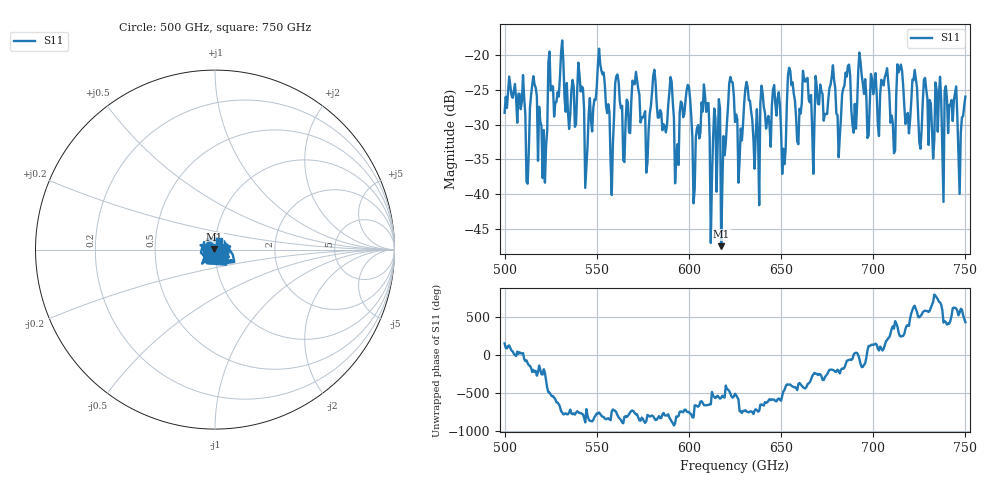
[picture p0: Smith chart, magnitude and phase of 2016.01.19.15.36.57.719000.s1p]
!Created with skrf (http://scikit-rf.org).
# GHz S RI R 50.0
!freq ReS11 ImS11
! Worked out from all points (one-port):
!   401 points, 500 GHz to 750 GHz, reference 50 ohm
!   lowest |S11| = -47.5 dB at 617.5 GHz (marker M1), VSWR 1.01, Z = 49.6 + j0.148 ohm
!   |S11| at or under -10 dB: start of sweep to end of sweep
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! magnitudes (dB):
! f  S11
! 500 GHz  -28.3
! 512.5 GHz  -38.5
! 516.2 GHz  -24.2
! 521.9 GHz  -38.3
! 525 GHz  -25.1
! 531.2 GHz  -17.9
! 541.2 GHz  -25.2
! 544.4 GHz  -36.0
! 551.9 GHz  -21.3
! 558.1 GHz  -40.1
! 562.5 GHz  -26.6
! 590 GHz  -23.1
! 593.8 GHz  -32.8
! 599.4 GHz  -24.3
! 603.1 GHz  -39.3
! 609.4 GHz  -28.2
! 617.5 GHz  -47.5
! 625 GHz  -29.6
! 636.9 GHz  -27.8
! 647.5 GHz  -28.7
! 651.2 GHz  -33.5
! 656.2 GHz  -23.9
! 687.5 GHz  -23.0
! 706.9 GHz  -22.7
! 710.6 GHz  -29.7
! 714.4 GHz  -22.0
! 718.8 GHz  -28.3
! 750 GHz  -26.0
